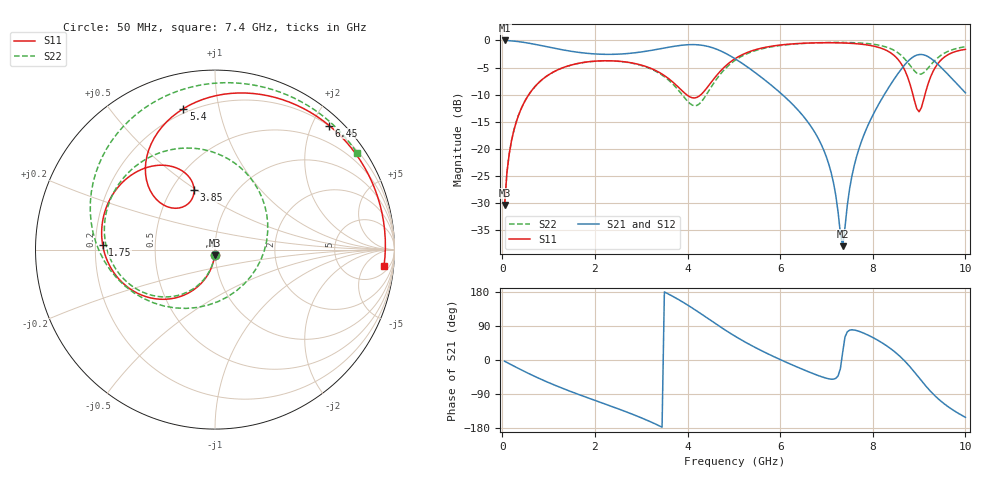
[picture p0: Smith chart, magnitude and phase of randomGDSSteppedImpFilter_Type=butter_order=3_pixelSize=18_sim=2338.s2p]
! freq	dB(S11)	phase(S11)	dB(S12)	phase(S12)
!  dB(S21)	phase(S21)	dB(S22)	phase(S22)
!S-par simulation data
#  GHz  S  DB  R 50
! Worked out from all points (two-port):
!   200 points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, 50 MHz to 10 GHz, reference 50 ohm
!   highest |S21| = -0.01 dB at 50 MHz (marker M1); lowest = -37.9 dB at 7.35 GHz (marker M2)
!   |S21| within 3 dB of the highest: start of sweep to 4.954 GHz; 8.88 GHz to 9.196 GHz (316.1 MHz wide, 3.5 % of centre)
!   lowest |S11| = -30.4 dB at 50 MHz (marker M3), VSWR 1.06, Z = 49.7 - j3.01 ohm
!   |S11| at or under -10 dB: start of sweep to 572.7 MHz; 3.979 GHz to 4.288 GHz (309 MHz wide, 7.48 % of centre); 8.867 GHz to 9.127 GHz (260.4 MHz wide, 2.89 % of centre)
!   |S22| runs from -30.4 to -0.4 dB; largest |S21 - S12| = 0
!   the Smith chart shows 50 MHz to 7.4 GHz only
!   S11 on the Smith chart (normalised r, x): 50 MHz: 0.99, -0.06; 1.75 GHz: 0.23, +0.02; 3.85 GHz: 0.64, +0.49; 5.4 GHz: 0.18, +0.79; 6.45 GHz: 0.19, +2.27; 7.4 GHz: 9, -16
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0.05  -30.37 -93.3  -0.01 -3.3  -0.01 -3.3  -30.38 -93.5
0.2  -18.45 -103.0  -0.08 -12.9  -0.08 -12.9  -18.45 -103.7
0.5  -11.01 -121.2  -0.41 -31.5  -0.41 -31.5  -11.00 -123.0
1.75  -4.07 177.8  -2.31 -95.5  -2.31 -95.5  -4.07 170.2
2.75  -4.08 138.6  -2.38 -140.3  -2.38 -140.3  -4.12 120.6
3.4  -5.95 115.4  -1.56 -174.3  -1.56 -174.3  -6.11 77.3
3.85  -9.01 109.2  -0.92 156.3  -0.92 156.3  -9.67 26.7
4.5  -7.84 139.5  -1.24 104.6  -1.24 104.6  -8.74 -116.3
5.05  -3.24 121.1  -3.50 61.0  -3.50 61.0  -3.53 176.4
5.4  -1.89 102.6  -5.55 37.0  -5.55 37.0  -2.06 147.6
6.45  -0.54 47.4  -13.46 -22.9  -13.46 -22.9  -0.58 83.2
6.7  -0.46 34.1  -16.30 -35.4  -16.30 -35.4  -0.47 70.0
7.1  -0.42 12.0  -24.33 -50.5  -24.33 -50.5  -0.38 49.4
7.35  -0.47 -2.5  -37.94 19.9  -37.94 19.9  -0.38 36.6
7.4  -0.48 -5.5  -34.45 60.7  -34.45 60.7  -0.38 34.0
7.7  -0.65 -24.5  -20.02 75.8  -20.02 75.8  -0.46 18.5
8.35  -2.09 -77.9  -8.60 33.2  -8.60 33.2  -1.39 -17.2
8.8  -7.94 -151.2  -3.51 -17.3  -3.51 -17.3  -4.55 -37.5
9  -13.15 117.0  -2.61 -47.0  -2.61 -47.0  -6.23 -29.9
9.1  -10.87 62.4  -2.66 -62.0  -2.66 -62.0  -5.94 -23.3
9.45  -3.82 -17.9  -4.76 -106.4  -4.76 -106.4  -2.88 -26.3
10  -1.65 -75.9  -9.67 -151.3  -9.67 -151.3  -1.16 -53.1
